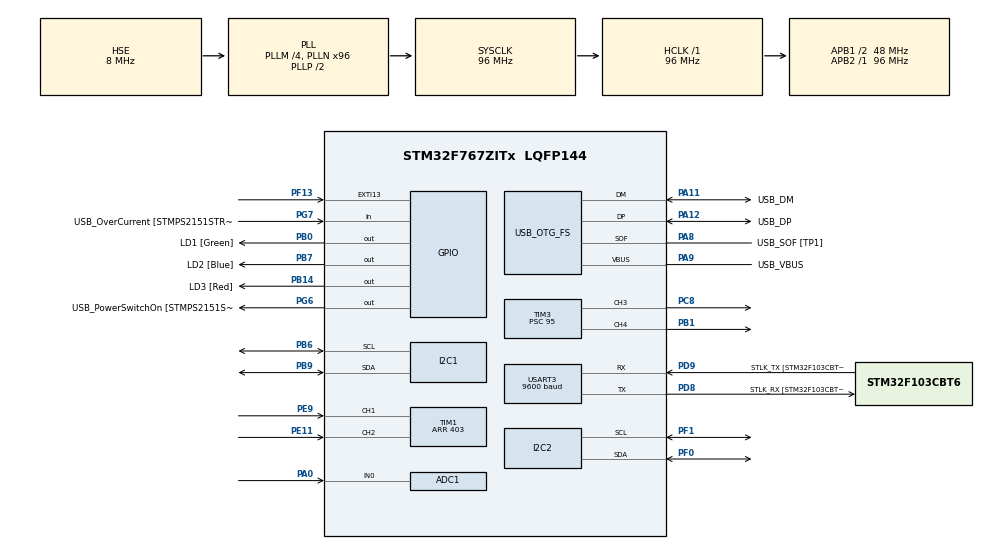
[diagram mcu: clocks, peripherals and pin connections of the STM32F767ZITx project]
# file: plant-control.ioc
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ADC1.Channel-1\#ChannelRegularConversion=ADC_CHANNEL_0
ADC1.ClockPrescaler=ADC_CLOCK_SYNC_PCLK_DIV4
ADC1.ContinuousConvMode=ENABLE
ADC1.DMAContinuousRequests=DISABLE
ADC1.DiscontinuousConvMode=DISABLE
ADC1.EOCSelection=ADC_EOC_SINGLE_CONV
ADC1.InjNumberOfConversion=0
ADC1.NbrOfConversion=1
ADC1.NbrOfConversionFlag=1
ADC1.Rank-1\#ChannelRegularConversion=1
ADC1.SamplingTime-1\#ChannelRegularConversion=ADC_SAMPLETIME_3CYCLES
ADC1.ScanConvMode=ADC_SCAN_ENABLE
ADC1.master=1
I2C1.Timing=0x20303E5D
I2C2.Timing=0x20303E5D
Mcu.Family=STM32F7
Mcu.Name=STM32F767ZITx
Mcu.Package=LQFP144
NVIC.ADC_IRQn=true\:0\:0\:false\:false\:true\:true\:true
NVIC.EXTI15_10_IRQn=true\:0\:0\:false\:false\:true\:true\:true
NVIC.I2C1_EV_IRQn=true\:0\:0\:false\:false\:true\:true\:true
NVIC.PriorityGroup=NVIC_PRIORITYGROUP_4
NVIC.TIM1_BRK_TIM9_IRQn=true\:0\:0\:false\:false\:true\:true\:true
NVIC.TIM2_IRQn=true\:0\:0\:false\:false\:true\:true\:true
NVIC.TIM3_IRQn=true\:0\:0\:false\:false\:true\:true\:true
NVIC.TIM4_IRQn=true\:0\:0\:false\:false\:true\:true\:true
NVIC.USART3_IRQn=true\:0\:0\:false\:false\:true\:true\:true
PA0/WKUP.Signal=ADCx_IN0
PA1.GPIO_Label=RMII_REF_CLK [LAN8742A-CZ-TR_REFCLK0]
PA1.Signal=ETH_REF_CLK
PA10.GPIO_Label=USB_ID
PA10.Signal=USB_OTG_FS_ID
PA11.GPIO_Label=USB_DM
PA11.Mode=Device_Only
PA11.Signal=USB_OTG_FS_DM
PA12.GPIO_Label=USB_DP
PA12.Mode=Device_Only
PA12.Signal=USB_OTG_FS_DP
PA13.GPIO_Label=TMS
PA13.Mode=Serial_Wire
PA13.Signal=SYS_JTMS-SWDIO
PA14.GPIO_Label=TCK
PA14.Mode=Serial_Wire
PA14.Signal=SYS_JTCK-SWCLK
PA2.GPIO_Label=RMII_MDIO [LAN8742A-CZ-TR_MDIO]
PA2.Signal=ETH_MDIO
PA7.GPIO_Label=RMII_CRS_DV [LAN8742A-CZ-TR_CRS_DV]
PA7.Signal=ETH_CRS_DV
PA8.GPIO_Label=USB_SOF [TP1]
PA8.Mode=Activate_SOF_FS
PA8.Signal=USB_OTG_FS_SOF
PA9.GPIO_Label=USB_VBUS
PA9.Mode=Activate_VBUS
PA9.Signal=USB_OTG_FS_VBUS
PB0.GPIO_Label=LD1 [Green]
PB0.Signal=GPIO_Output
PB1.Signal=S_TIM3_CH4
PB13.GPIO_Label=RMII_TXD1 [LAN8742A-CZ-TR_TXD1]
PB13.Signal=ETH_TXD1
PB14.GPIO_Label=LD3 [Red]
PB14.Signal=GPIO_Output
PB3.GPIO_Label=SWO
PB3.Signal=SYS_JTDO-SWO
PB6.Mode=I2C
PB6.Signal=I2C1_SCL
PB7.GPIO_Label=LD2 [Blue]
PB7.Signal=GPIO_Output
PB9.Mode=I2C
PB9.Signal=I2C1_SDA
PC1.GPIO_Label=RMII_MDC [LAN8742A-CZ-TR_MDC]
PC1.Signal=ETH_MDC
PC14/OSC32_IN.Mode=LSE-External-Oscillator
PC14/OSC32_IN.Signal=RCC_OSC32_IN
PC15/OSC32_OUT.Mode=LSE-External-Oscillator
PC15/OSC32_OUT.Signal=RCC_OSC32_OUT
PC4.GPIO_Label=RMII_RXD0 [LAN8742A-CZ-TR_RXD0]
PC4.Signal=ETH_RXD0
PC5.GPIO_Label=RMII_RXD1 [LAN8742A-CZ-TR_RXD1]
PC5.Signal=ETH_RXD1
PC8.Signal=S_TIM3_CH3
PD8.GPIO_Label=STLK_RX [STM32F103CBT6_PA3]
PD8.Mode=Asynchronous
PD8.Signal=USART3_TX
PD9.GPIO_Label=STLK_TX [STM32F103CBT6_PA2]
PD9.Mode=Asynchronous
PD9.Signal=USART3_RX
PE11.Signal=S_TIM1_CH2
PE9.Signal=S_TIM1_CH1
PF0.Mode=I2C
PF0.Signal=I2C2_SDA
PF1.Mode=I2C
PF1.Signal=I2C2_SCL
PF13.GPIO_PuPd=GPIO_PULLUP
PF13.Signal=GPXTI13
PG11.GPIO_Label=RMII_TX_EN [LAN8742A-CZ-TR_TXEN]
PG11.Signal=ETH_TX_EN
PG13.GPIO_Label=RMII_TXD0 [LAN8742A-CZ-TR_TXD0]
PG13.Signal=ETH_TXD0
PG6.GPIO_Label=USB_PowerSwitchOn [STMPS2151STR_EN]
PG6.Signal=GPIO_Output
PG7.GPIO_Label=USB_OverCurrent [STMPS2151STR_FAULT]
PG7.Signal=GPIO_Input
PH0/OSC_IN.GPIO_Label=MCO [STM32F103CBT6_PA8]
PH0/OSC_IN.Mode=HSE-External-Clock-Source
PH0/OSC_IN.Signal=RCC_OSC_IN
PH1/OSC_OUT.Mode=HSE-External-Clock-Source
PH1/OSC_OUT.Signal=RCC_OSC_OUT
ProjectManager.HeapSize=0x200
ProjectManager.StackSize=0x400
ProjectManager.TargetToolchain=STM32CubeIDE
RCC.48MHZClocksFreq_Value=24000000
RCC.AHBFreq_Value=96000000
RCC.APB1CLKDivider=RCC_HCLK_DIV2
RCC.APB1Freq_Value=48000000
RCC.APB1TimFreq_Value=96000000
RCC.APB2Freq_Value=96000000
RCC.APB2TimFreq_Value=96000000
RCC.CortexFreq_Value=96000000
RCC.HCLKFreq_Value=96000000
RCC.HSE_VALUE=8000000
RCC.HSI_VALUE=16000000
RCC.PLLM=4
RCC.PLLMUL=RCC_PLL_MUL9
RCC.PLLN=96
RCC.PLLQ=4
RCC.PRESCALERUSB=RCC_USBCLKSOURCE_PLL_DIV1_5
RCC.SYSCLKFreq_VALUE=96000000
RCC.SYSCLKSource=RCC_SYSCLKSOURCE_PLLCLK
RCC.SYSCLKSourceVirtual=RCC_SYSCLKSOURCE_PLLCLK
RCC.USBFreq_Value=48000000
RCC.VCOOutputFreq_Value=192000000
SH.ADCx_IN0.0=ADC1_IN0,IN0
SH.S_TIM1_CH1.0=TIM1_CH1,Encoder_Interface
SH.S_TIM1_CH2.0=TIM1_CH2,Encoder_Interface
SH.S_TIM3_CH3.0=TIM3_CH3,PWM Generation3 CH3
SH.S_TIM3_CH4.0=TIM3_CH4,PWM Generation4 CH4
TIM1.EncoderMode=TIM_ENCODERMODE_TI12
TIM1.Period=403
TIM2.Period=999
TIM2.Prescaler=19199
TIM3.Channel-PWM\ Generation3\ CH3=TIM_CHANNEL_3
TIM3.Channel-PWM\ Generation4\ CH4=TIM_CHANNEL_4
TIM3.Period=999
TIM3.Prescaler=95
TIM3.Pulse-PWM\ Generation3\ CH3=500
TIM3.Pulse-PWM\ Generation4\ CH4=1000
TIM4.Period=9999
TIM4.Prescaler=9599
USART3.BaudRate=9600
USART3.VirtualMode-Asynchronous=VM_ASYNC
USB_OTG_FS.VirtualMode=Device_Only
VP_TIM2_VS_ClockSourceINT.Mode=Internal
VP_TIM3_VS_ClockSourceINT.Mode=Internal
VP_TIM4_VS_ClockSourceINT.Mode=Internal
board=NUCLEO-F767ZI

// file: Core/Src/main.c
/* USER CODE BEGIN Header */
/**
 ******************************************************************************
 * @file           : main.c
 * @brief          : Main program body
 ******************************************************************************
 * @attention
 *
 * <h2><center>&copy; Copyright (c) 2022 STMicroelectronics.
 * All rights reserved.</center></h2>
 *
 * This software component is licensed by ST under BSD 3-Clause license,
 * the "License"; You may not use this file except in compliance with the
 * License. You may obtain a copy of the License at:
 *                        opensource.org/licenses/BSD-3-Clause
 *
 ******************************************************************************
 */
/* USER CODE END Header */
#include "main.h"
#include "adc.h"
#include "i2c.h"
#include "tim.h"
#include "usart.h"
#include "usb_otg.h"
#include "gpio.h"

/* USER CODE BEGIN Includes */
#include <stdint.h>
#include "string.h"
#include "WS9527.h"
#include "messages.h"
#include "display.h"
#include "encoder.h"
#include "lamp.h"
#include "bh1750_config.h"
/* USER CODE END Includes */

void SystemClock_Config(void);

/* USER CODE BEGIN 0 */
extern uint16_t WS9527_Reading;
extern uint16_t positions;
extern uint8_t button;
extern bool menu_open;
extern const unsigned char bg[];
extern uint16_t BH1750_Reading;
extern double Lamp_Setpoint;
extern bool Lamp_PID_Control_On;
char brightness_str[5];

void HAL_ADC_ConvCpltCallback(ADC_HandleTypeDef *hadc) {
	WS9527_GetReadings(hadc);
}

void HAL_TIM_PeriodElapsedCallback(TIM_HandleTypeDef *htim) {
	if (htim->Instance == TIM3) {
		/* TIM3 is set with the frequency of 1000 Hz (period of 1 ms) */
		WS9527_StartReadings();
	} else if (htim->Instance == TIM2) {
		/* TIM2 is set with the frequency of 5 Hz (period of 200 ms) */
		BH1750_Reading = BH1750_ReadIlluminance_lux(&hbh1750_1);
		if (Lamp_PID_Control_On == true) {
			Lamp_PID_Control(Lamp_Setpoint);
		}
	} else if (htim->Instance == TIM4) {
		/* TIM4 is set with the frequency of 1 Hz (period of 1 s) */
		UART_TransmitData(WS9527_Reading, BH1750_Reading, Lamp_Setpoint);
		if (!menu_open) {
			DisplayMeasurements();
		}
		QE_CheckPosition();
	}
}

void HAL_GPIO_EXTI_Callback(uint16_t GPIO_Pin) {
	if (GPIO_Pin == GPIO_PIN_13) {
		SwitchHandler();
	}
}

void HAL_UART_RxCpltCallback(UART_HandleTypeDef *huart) {
	if (huart->Instance == USART3) {
		Lamp_PID_Control_On = true;
		Lamp_Setpoint = (brightness_str[0] - '0') * 1000
				+ (brightness_str[1] - '0') * 100
				+ (brightness_str[2] - '0') * 10 + brightness_str[3] - '0'; // a crime
		HAL_UART_Receive_IT(&huart3, (uint8_t*) brightness_str, 4);
	}
}

/* USER CODE END 0 */

int main(void) {

	/* MCU Configuration--------------------------------------------------------*/

	/* Reset of all peripherals, Initializes the Flash interface and the Systick. */
	HAL_Init();

	/* Configure the system clock */
	SystemClock_Config();

	/* Initialize all configured peripherals */
	MX_TIM3_Init();
	MX_TIM4_Init();
	MX_TIM1_Init();
	MX_USART3_UART_Init();
	MX_I2C1_Init();
	MX_I2C2_Init();
	MX_GPIO_Init();
	MX_ADC1_Init();
	MX_TIM2_Init();
	MX_USB_OTG_FS_PCD_Init();
	/* USER CODE BEGIN 2 */
	Splash();
	HAL_TIM_Base_Start_IT(&htim2);
	HAL_TIM_Base_Start_IT(&htim3);
	HAL_TIM_Base_Start_IT(&htim4);
	WS9527_Initialize();
	QE_Initialize();
	Lamp_Initialize();
	BH1750_Init(&hbh1750_1);
	HAL_UART_Receive_IT(&huart3, (uint8_t*) brightness_str, 4);
	// for testing the pump
	HAL_TIM_PWM_Start(&htim3, TIM_CHANNEL_4);
	/* USER CODE END 2 */

	/* Infinite loop */
	while (1) {

	}
}

void SystemClock_Config(void) {
	RCC_OscInitTypeDef RCC_OscInitStruct = { 0 };
	RCC_ClkInitTypeDef RCC_ClkInitStruct = { 0 };
	RCC_PeriphCLKInitTypeDef PeriphClkInitStruct = { 0 };

	/** Configure LSE Drive Capability
	 */
	HAL_PWR_EnableBkUpAccess();
	/** Configure the main internal regulator output voltage
	 */
	__HAL_RCC_PWR_CLK_ENABLE();
	__HAL_PWR_VOLTAGESCALING_CONFIG(PWR_REGULATOR_VOLTAGE_SCALE3);
	/** Initializes the RCC Oscillators according to the specified parameters
	 * in the RCC_OscInitTypeDef structure.
	 */
	RCC_OscInitStruct.OscillatorType = RCC_OSCILLATORTYPE_HSE;
	RCC_OscInitStruct.HSEState = RCC_HSE_BYPASS;
	RCC_OscInitStruct.PLL.PLLState = RCC_PLL_ON;
	RCC_OscInitStruct.PLL.PLLSource = RCC_PLLSOURCE_HSE;
	RCC_OscInitStruct.PLL.PLLM = 4;
	RCC_OscInitStruct.PLL.PLLN = 96;
	RCC_OscInitStruct.PLL.PLLP = RCC_PLLP_DIV2;
	RCC_OscInitStruct.PLL.PLLQ = 4;
	RCC_OscInitStruct.PLL.PLLR = 2;
	if (HAL_RCC_OscConfig(&RCC_OscInitStruct) != HAL_OK) {
		Error_Handler();
	}
	/** Activate the Over-Drive mode
	 */
	if (HAL_PWREx_EnableOverDrive() != HAL_OK) {
		Error_Handler();
	}
	/** Initializes the CPU, AHB and APB buses clocks
	 */
	RCC_ClkInitStruct.ClockType = RCC_CLOCKTYPE_HCLK | RCC_CLOCKTYPE_SYSCLK
			| RCC_CLOCKTYPE_PCLK1 | RCC_CLOCKTYPE_PCLK2;
	RCC_ClkInitStruct.SYSCLKSource = RCC_SYSCLKSOURCE_PLLCLK;
	RCC_ClkInitStruct.AHBCLKDivider = RCC_SYSCLK_DIV1;
	RCC_ClkInitStruct.APB1CLKDivider = RCC_HCLK_DIV2;
	RCC_ClkInitStruct.APB2CLKDivider = RCC_HCLK_DIV1;

	if (HAL_RCC_ClockConfig(&RCC_ClkInitStruct, FLASH_LATENCY_3) != HAL_OK) {
		Error_Handler();
	}
	PeriphClkInitStruct.PeriphClockSelection = RCC_PERIPHCLK_USART3
			| RCC_PERIPHCLK_I2C1 | RCC_PERIPHCLK_I2C2 | RCC_PERIPHCLK_CLK48;
	PeriphClkInitStruct.Usart3ClockSelection = RCC_USART3CLKSOURCE_PCLK1;
	PeriphClkInitStruct.I2c1ClockSelection = RCC_I2C1CLKSOURCE_PCLK1;
	PeriphClkInitStruct.I2c2ClockSelection = RCC_I2C2CLKSOURCE_PCLK1;
	PeriphClkInitStruct.Clk48ClockSelection = RCC_CLK48SOURCE_PLL;
	if (HAL_RCCEx_PeriphCLKConfig(&PeriphClkInitStruct) != HAL_OK) {
		Error_Handler();
	}
}

void Error_Handler(void) {
	__disable_irq();
	while (1) {
	}
}

/************************ (C) COPYRIGHT STMicroelectronics *****END OF FILE****/
